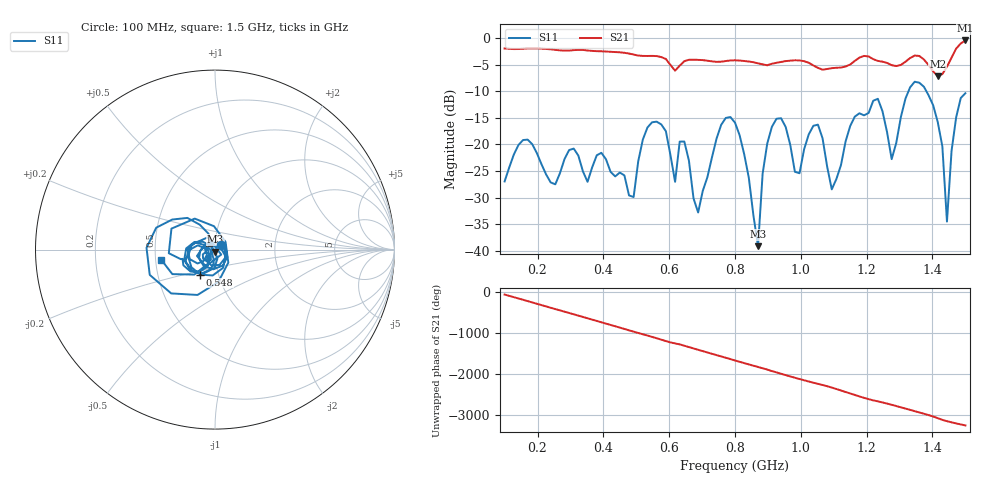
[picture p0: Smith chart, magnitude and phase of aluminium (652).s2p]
! NanoVNA-App
! Date: 2025-09-25 15:00:21
! Start: 100MHz Stop: 1,5GHz Points: 101
! S-Parameter data: F S11 S21 S12 S22
# Hz S RI R 50
!  Frequency  S11_Real  S11_Imag  S21_Real  S21_Imag  S12_Real  S12_Imag  S22_Real  S22_Imag
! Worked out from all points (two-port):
!   101 points, 100 MHz to 1.5 GHz, reference 50 ohm
!   highest |S21| = -0.41 dB at 1.5 GHz (marker M1); lowest = -7.2 dB at 1.416 GHz (marker M2)
!   |S21| within 3 dB of the highest: start of sweep to 566.3 MHz; 1.46 GHz to end of sweep (the widest 2 of 4)
!   lowest |S11| = -39.1 dB at 870 MHz (marker M3), VSWR 1.02, Z = 50.2 - j1.09 ohm
!   |S11| at or under -10 dB: start of sweep to 1.327 GHz; 1.382 GHz to end of sweep
!   S12 and S22 are empty: the file has one direction only
!   S11 on the Smith chart (normalised r, x): 100 MHz: 1.07, +0.06; 548 MHz: 0.82, -0.23; 1.5 GHz: 0.54, -0.07
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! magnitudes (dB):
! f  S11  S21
! 100 MHz  -27.0  -1.9
! 156 MHz  -19.2  -2.0
! 338 MHz  -25.1  -2.2
! 492 MHz  -29.9  -3.1
! 548 MHz  -15.8  -3.3
! 576 MHz  -16.2  -3.5
! 618 MHz  -27.0  -6.1
! 646 MHz  -19.4  -4.3
! 688 MHz  -32.8  -4.1
! 800 MHz  -15.9  -4.1
! 870 MHz  -39.1  -4.7
! 912 MHz  -16.7  -4.8
! 996 MHz  -25.4  -4.2
! 1.038 GHz  -16.5  -5.1
! 1.094 GHz  -28.5  -5.6
! 1.22 GHz  -11.8  -3.9
! 1.276 GHz  -22.8  -5.1
! 1.346 GHz  -8.2  -3.3
! 1.416 GHz  -15.8  -7.2
! 1.444 GHz  -34.5  -5.4
! 1.472 GHz  -14.9  -1.9
! 1.5 GHz  -10.3  -0.4
